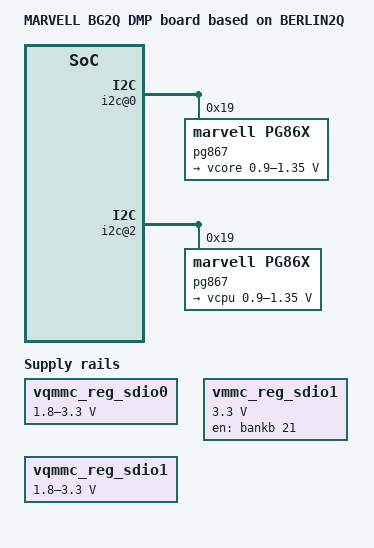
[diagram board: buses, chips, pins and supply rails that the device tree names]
/*
 * MARVELL BERLIN2Q DMP board device tree source
 *
 * Author:	Jisheng Zhang <jszhang@marvell.com>
 * Copyright (c) 2013 Marvell International Ltd.
 *		http://www.marvell.com
 *
 * This program is free software; you can redistribute it and/or modify
 * it under the terms of the GNU General Public License version 2 as
 * published by the Free Software Foundation.
*/

/dts-v1/;
/include/ "berlin2q.dtsi"

/ {
	model = "MARVELL BG2Q DMP board based on BERLIN2Q";
	compatible = "marvell,berlin2q-dmp", "marvell,berlin2q", "marvell,berlin";

	cpus {
		cpu@0 {
			cpu0-supply = <&vcpu>;
		};
	};

	soc {
		usbphy@F7B74000 {
			pwr-gpio = <&bankb 8 0>;
		};

		usbphy@F7B78000 {
			pwr-gpio = <&bankb 10 0>;
		};

		usbphy@F7A2F400 {
			pwr-gpio = <&bankb 12 0>;
		};

		sdhci@F7AB0000 {
			vqmmc-supply = <&vqmmc_reg_sdio0>;
		};

		sdhci@F7AB0800 {
			vmmc-supply = <&vmmc_reg_sdio1>;
			vqmmc-supply = <&vqmmc_reg_sdio1>;
		};

		vqmmc_reg_sdio0: vqmmc_sdio0 {
			compatible = "regulator-gpio";
			regulator-min-microvolt = <1800000>;
			regulator-max-microvolt = <3300000>;
			regulator-name = "vqmmc_sdio0";
			regulator-type = "voltage";
			gpios = <&banke 7 0>;
			states = <3300000 0x1
				1800000 0x0>;
		};

		vmmc_reg_sdio1: vmmc_sdio1 {
			compatible = "regulator-fixed";
			regulator-min-microvolt = <3300000>;
			regulator-max-microvolt = <3300000>;
			regulator-name = "vmmc_sdio1";
			enable-active-high;
			regulator-boot-on;
			gpio = <&bankb 21 0>;
		};

		vqmmc_reg_sdio1: vqmmc_sdio1 {
			compatible = "regulator-gpio";
			regulator-min-microvolt = <1800000>;
			regulator-max-microvolt = <3300000>;
			regulator-name = "vqmmc_sdio1";
			regulator-type = "voltage";
			enable-active-high;
			gpios = <&bankb 16 0>;
			states = <3300000 0x1
				1800000 0x0>;
		};

		i2c@0 {
			pg867 {
				#address-cells = <1>;
				#size-cells = <0>;
				compatible = "marvell,pg86x";
				reg = <0x19>;
				vcore:BK1_TV@0 {
					regulator-name = "vcore";
					regulator-min-microvolt = <900000>;
					regulator-max-microvolt = <1350000>;
					regulator-always-on;
					regulator-boot-on;
				};
			};
		};

		i2c@2 {
			pg867 {
				#address-cells = <1>;
				#size-cells = <0>;
				compatible = "marvell,pg86x";
				reg = <0x19>;
				vcpu:BK1_TV@1 {
					regulator-name = "vcpu";
					regulator-min-microvolt = <900000>;
					regulator-max-microvolt = <1350000>;
					regulator-always-on;
					regulator-boot-on;
				};
			};
		};
	};
};
